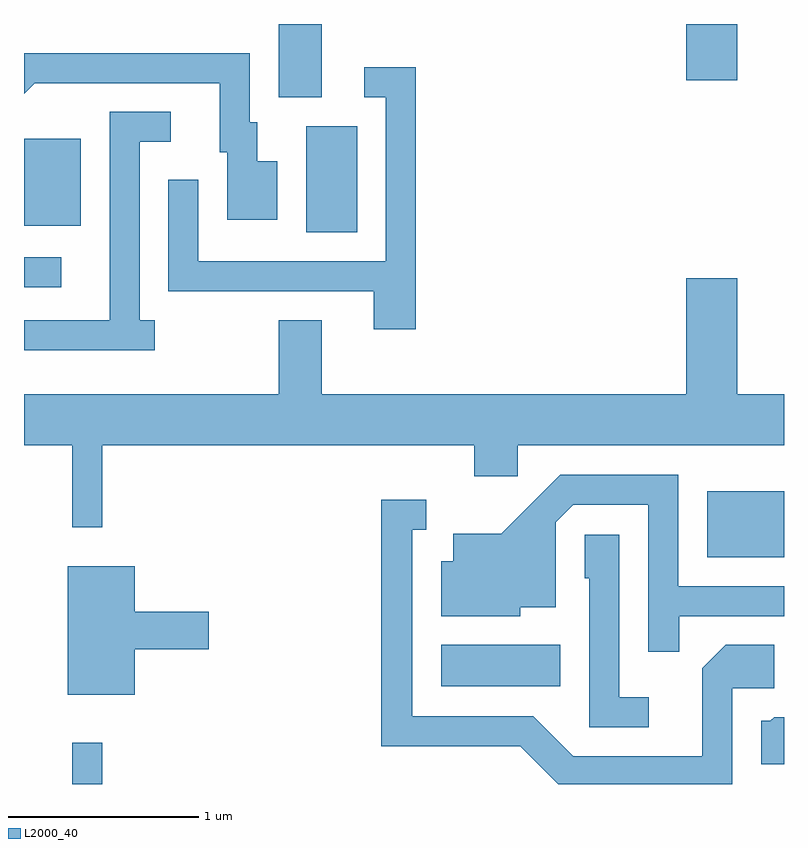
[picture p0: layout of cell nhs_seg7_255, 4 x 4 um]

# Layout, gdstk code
import gdstk
lib = gdstk.Library(unit=1e-6, precision=1e-09)
def R(c, l, rs):  # rectangles x0, y0, x1, y1
    for r in rs: c.add(gdstk.rectangle(r[:2], r[2:], *l))
def P(c, l, *ps):  # polygons
    for p in ps: c.add(gdstk.Polygon(p, *l))
L2000_40 = (2000, 40)

nhs_seg7_255 = lib.new_cell('nhs_seg7_255')
R(nhs_seg7_255, L2000_40, [(191.866,1770.252,192.024,1770.468), (193.806,1770.766,194.434,1770.984), (195.206,1771.446,195.611,1771.794), (191.611,1772.866,191.808,1773.024), (193.096,1773.156,193.364,1773.714), (191.611,1773.191,191.909,1773.649), (192.951,1773.866,193.179,1774.252), (195.096,1773.956,195.364,1774.252)])
P(nhs_seg7_255, L2000_40, [(192.944,1773.529),(192.839,1773.529),(192.839,1773.734),(192.799,1773.734),(192.799,1774.099),(191.611,1774.099),(191.611,1773.885),(191.667,1773.941),(192.641,1773.941),(192.641,1773.576),(192.681,1773.576),(192.681,1773.221),(192.944,1773.221)],
  [(193.674,1774.024),(193.403,1774.024),(193.403,1773.866),(193.516,1773.866),(193.516,1773.004),(192.529,1773.004),(192.529,1773.433),(192.371,1773.433),(192.371,1772.846),(193.451,1772.846),(193.451,1772.646),(193.674,1772.646)],
  [(192.298,1772.694),(192.219,1772.694),(192.219,1773.631),(192.383,1773.631),(192.383,1773.789),(192.061,1773.789),(192.061,1772.694),(191.611,1772.694),(191.611,1772.536),(192.298,1772.536)],
  [(192.024,1772.036),(193.981,1772.036),(193.981,1771.871),(194.209,1771.871),(194.209,1772.036),(195.611,1772.036),(195.611,1772.304),(195.364,1772.304),(195.364,1772.914),(195.096,1772.914),(195.096,1772.304),(193.179,1772.304),(193.179,1772.694),(192.951,1772.694),(192.951,1772.304),(191.611,1772.304),(191.611,1772.036),(191.866,1772.036),(191.866,1771.603),(192.024,1771.603)],
  [(195.059,1771.136),(195.611,1771.136),(195.611,1771.294),(195.054,1771.294),(195.054,1771.879),(194.434,1771.879),(194.124,1771.569),(193.871,1771.569),(193.871,1771.424),(193.806,1771.424),(193.806,1771.136),(194.224,1771.136),(194.224,1771.181),(194.409,1771.181),(194.409,1771.629),(194.502,1771.721),(194.896,1771.721),(194.896,1770.948),(195.059,1770.948)],
  [(195.339,1770.756),(195.559,1770.756),(195.559,1770.984),(195.304,1770.984),(195.181,1770.862),(195.181,1770.399),(194.502,1770.399),(194.292,1770.609),(193.654,1770.609),(193.654,1771.591),(193.728,1771.591),(193.728,1771.749),(193.491,1771.749),(193.491,1770.451),(194.224,1770.451),(194.423,1770.252),(195.339,1770.252)],
  [(194.898,1770.709),(194.744,1770.709),(194.744,1771.564),(194.561,1771.564),(194.561,1771.336),(194.586,1771.336),(194.586,1770.551),(194.898,1770.551)],
  [(192.194,1770.961),(192.584,1770.961),(192.584,1771.159),(192.194,1771.159),(192.194,1771.399),(191.841,1771.399),(191.841,1770.721),(192.194,1770.721)],
  [(195.611,1770.604),(195.559,1770.604),(195.539,1770.584),(195.491,1770.584),(195.491,1770.356),(195.611,1770.356)])

lib.write_gds('nhs_seg7_255.gds')
